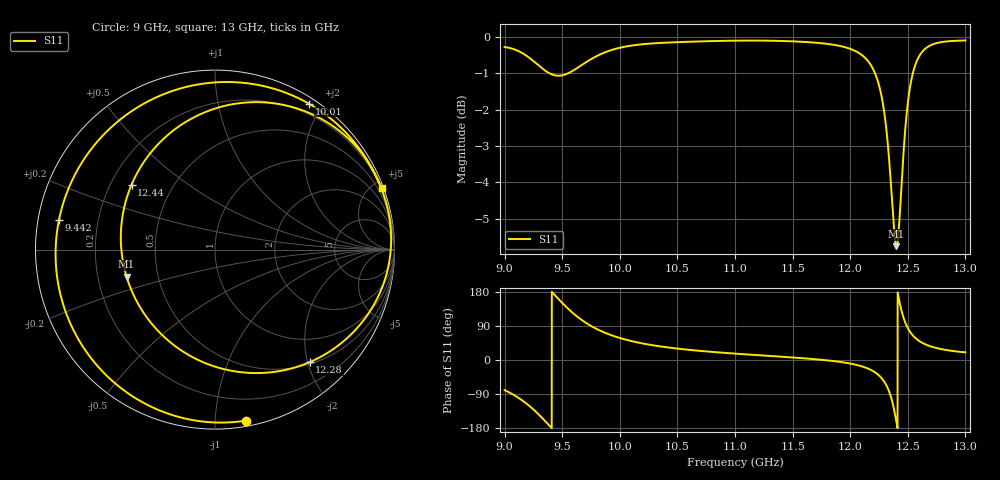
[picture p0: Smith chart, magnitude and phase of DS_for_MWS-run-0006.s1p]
! TOUCHSTONE file generated by CST DESIGN STUDIO
! Date and time: Tue Feb  4 14:01:41 2025
! Project name: C:\Work\MatlabApps\UnitCellOptimizationMatlab\CST\unitcell.cst
! Tree item: Tasks\Sweep1\SPara1\S-Parameters
! Header version: 2024
! Port assignment regex: !\s*Touchstone port\s*([0-9]+)\s*=\s*(CST MWS port|CST DES external port|CST DES block port)\s*(.+)\s* \(\"(.*)\"\)(\s*mode\s*([0-9]+))?.*
! Touchstone port assignment:
! Touchstone port 1 = CST DES external port 1 ("")
# GHz S MA R 50
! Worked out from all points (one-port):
!   4001 points, 9 GHz to 13 GHz, reference 50 ohm
!   lowest |S11| = -5.8 dB at 12.4 GHz (marker M1), VSWR 3.13, Z = 16.3 - j6.72 ohm
!   |S11| at or under -10 dB: nowhere
!   S11 on the Smith chart (normalised r, x): 9 GHz: 0.04, -1.20; 9.442 GHz: 0.06, +0.09; 10.01 GHz: 0.07, +1.83; 12.28 GHz: 0.53, -2.04; 12.44 GHz: 0.29, +0.32; 13 GHz: 0.19, +5.62
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9  0.9683 -79.6
9.124  0.9554 -100.6
9.223  0.9336 -123.3
9.343  0.9008 -158.3
9.442  0.8849 169.3
9.5  0.8853 150.6
9.596  0.899 123.1
9.697  0.9207 99.8
9.844  0.9482 75.4
10  0.9661 58.1
10.009  0.9668 57.3
10.219  0.9777 42.4
10.5  0.9834 30.1
11  0.9881 16.8
11.5  0.9859 6.7
12  0.9628 -9.4
12.177  0.9157 -25.8
12.278  0.8195 -49.9
12.348  0.6453 -91.9
12.374  0.5607 -121.3
12.401  0.5153 -162.9
12.436  0.5891 142.1
12.467  0.7087 108.0
12.5  0.8105 84.4
12.567  0.9168 57.7
12.654  0.9639 41.1
12.785  0.9831 29.1
13  0.9887 20.2
